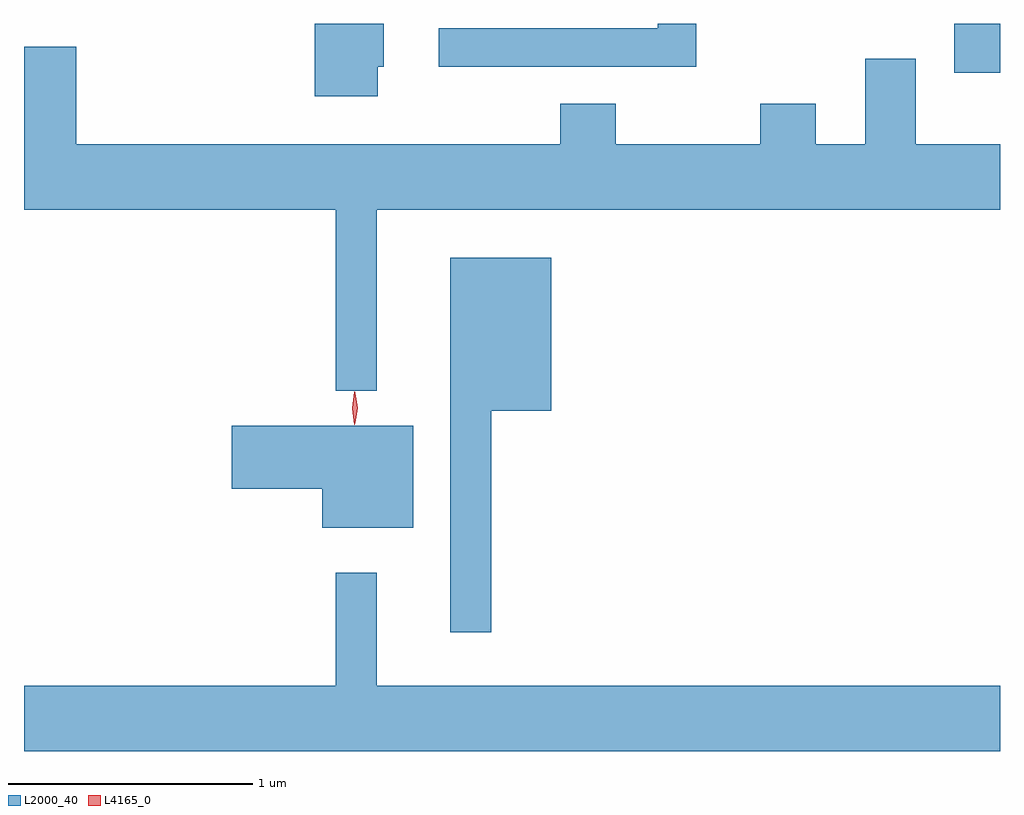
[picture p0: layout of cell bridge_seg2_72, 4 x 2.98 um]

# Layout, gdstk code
import gdstk
lib = gdstk.Library(unit=1e-6, precision=1e-09)
def R(c, l, rs):  # rectangles x0, y0, x1, y1
    for r in rs: c.add(gdstk.rectangle(r[:2], r[2:], *l))
def P(c, l, *ps):  # polygons
    for p in ps: c.add(gdstk.Polygon(p, *l))
L2000_40 = (2000, 40)
L4165_0 = (4165, 0)

bridge_seg2_72 = lib.new_cell('bridge_seg2_72')
R(bridge_seg2_72, L2000_40, [(1112.546,1066.636,1112.734,1066.837)])
P(bridge_seg2_72, L2000_40, [(1110.184,1066.661),(1110.209,1066.661),(1110.209,1066.837),(1109.926,1066.837),(1109.926,1066.541),(1110.184,1066.541)],
  [(1111.489,1066.837),(1111.331,1066.837),(1111.331,1066.819),(1110.433,1066.819),(1110.433,1066.661),(1111.489,1066.661)],
  [(1110.179,1066.076),(1112.734,1066.076),(1112.734,1066.344),(1112.389,1066.344),(1112.389,1066.694),(1112.181,1066.694),(1112.181,1066.344),(1111.979,1066.344),(1111.979,1066.509),(1111.751,1066.509),(1111.751,1066.344),(1111.159,1066.344),(1111.159,1066.509),(1110.931,1066.509),(1110.931,1066.344),(1108.949,1066.344),(1108.949,1066.744),(1108.734,1066.744),(1108.734,1066.076),(1110.011,1066.076),(1110.011,1065.333),(1110.179,1065.333)],
  [(1110.649,1065.251),(1110.894,1065.251),(1110.894,1065.879),(1110.481,1065.879),(1110.481,1064.343),(1110.649,1064.343)],
  [(1110.329,1065.189),(1109.586,1065.189),(1109.586,1064.931),(1109.956,1064.931),(1109.956,1064.771),(1110.329,1064.771)],
  [(1112.734,1064.124),(1110.179,1064.124),(1110.179,1064.588),(1110.011,1064.588),(1110.011,1064.124),(1108.734,1064.124),(1108.734,1063.856),(1112.734,1063.856)])
P(bridge_seg2_72, L4165_0, [(1110.091,1065.2),(1110.082,1065.264),(1110.091,1065.326),(1110.092,1065.327),(1110.092,1065.326),(1110.102,1065.264),(1110.092,1065.2),(1110.092,1065.2)],
  [(1110.088,1065.194),(1110.079,1065.262),(1110.088,1065.33),(1110.089,1065.33),(1110.089,1065.33),(1110.099,1065.262),(1110.089,1065.194),(1110.089,1065.194)])

lib.write_gds('bridge_seg2_72.gds')
